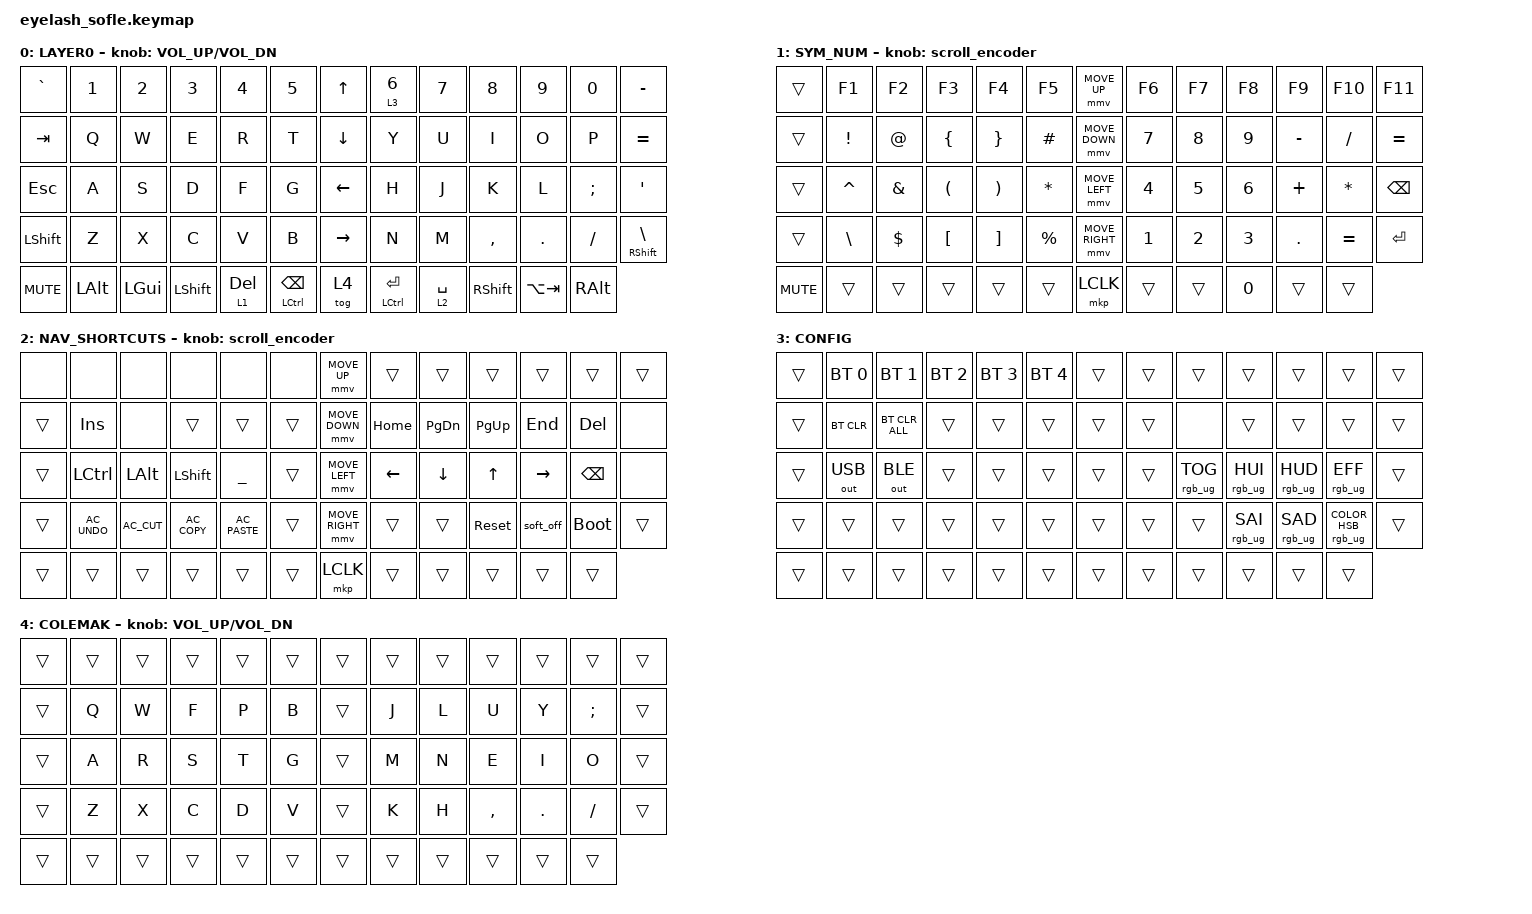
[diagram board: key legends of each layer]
#define ZMK_POINTING_DEFAULT_MOVE_VAL 1200  // 600
#define ZMK_POINTING_DEFAULT_SCRL_VAL 25   // 10

#include <input/processors.dtsi>
#include <zephyr/dt-bindings/input/input-event-codes.h>
#include <behaviors.dtsi>
#include <dt-bindings/zmk/bt.h>
#include <dt-bindings/zmk/keys.h>
#include <dt-bindings/zmk/outputs.h>
#include <dt-bindings/zmk/pointing.h>
#include <dt-bindings/zmk/rgb.h>

&mmv_input_listener { input-processors = <&zip_xy_scaler 2 1>; };

&msc_input_listener { input-processors = <&zip_scroll_scaler 2 1>; };

&msc {
    acceleration-exponent = <1>;      // 0
    time-to-max-speed-ms = <100>;       // 300
    delay-ms = <0>;                   // 0
};

&mmv {
    time-to-max-speed-ms = <500>;
    acceleration-exponent = <1>;
    trigger-period-ms = <16>;
};

/ {
    scroll_encoder: scroll_encoder {
        compatible = "zmk,behavior-sensor-rotate";
        #sensor-binding-cells = <0>;
        bindings = <&msc SCRL_DOWN>, <&msc SCRL_UP>;

        tap-ms = <100>;
    };

    behaviors {
    };

    keymap {
        compatible = "zmk,keymap";

        BASE {
            bindings = <
&kp GRAVE       &kp N1        &kp N2        &kp N3          &kp N4        &kp N5                        &kp UP_ARROW     &lt 3 NUMBER_6          &kp N7       &kp N8           &kp N9       &kp N0         &kp MINUS
&kp TAB         &kp Q         &kp W         &kp E           &kp R         &kp T                         &kp DOWN_ARROW   &kp Y                   &kp U        &kp I            &kp O        &kp P          &kp EQUAL
&kp ESC         &kp A         &kp S         &kp D           &kp F         &kp G                         &kp LEFT_ARROW   &kp H                   &kp J        &kp K            &kp L        &kp SEMICOLON  &kp APOSTROPHE
&kp LEFT_SHIFT  &kp Z         &kp X         &kp C           &kp V         &kp B                         &kp RIGHT_ARROW  &kp N                   &kp M        &kp COMMA        &kp PERIOD   &kp SLASH      &mt RIGHT_SHIFT BACKSLASH
&kp C_MUTE      &kp LEFT_ALT  &kp LEFT_GUI  &kp LEFT_SHIFT  &lt 1 DELETE  &mt LEFT_CONTROL BACKSPACE    &tog 4           &mt LEFT_CONTROL ENTER  &lt 2 SPACE  &kp RIGHT_SHIFT  &kp LA(TAB)  &kp RIGHT_ALT
            >;

            sensor-bindings = <&inc_dec_kp C_VOLUME_UP C_VOL_DN>;
            display-name = "LAYER0";
            label = "BASE";
        };

        SYM_NUM {
            bindings = <
&trans      &kp F1           &kp F2         &kp F3                &kp F4                 &kp F5          &mmv MOVE_UP     &kp F6        &kp F7        &kp F8        &kp F9      &kp F10       &kp F11
&trans      &kp EXCLAMATION  &kp AT_SIGN    &kp LEFT_BRACE        &kp RIGHT_BRACE        &kp HASH        &mmv MOVE_DOWN   &kp N7        &kp N8        &kp NUMBER_9  &kp MINUS   &kp SLASH     &kp EQUAL
&trans      &kp CARET        &kp AMPERSAND  &kp LEFT_PARENTHESIS  &kp RIGHT_PARENTHESIS  &kp ASTERISK    &mmv MOVE_LEFT   &kp NUMBER_4  &kp NUMBER_5  &kp NUMBER_6  &kp PLUS    &kp ASTERISK  &kp BACKSPACE
&trans      &kp BACKSLASH    &kp DOLLAR     &kp LEFT_BRACKET      &kp RIGHT_BRACKET      &kp PERCENT     &mmv MOVE_RIGHT  &kp NUMBER_1  &kp NUMBER_2  &kp NUMBER_3  &kp PERIOD  &kp EQUAL     &kp ENTER
&kp C_MUTE  &trans           &trans         &trans                &trans                 &trans          &mkp LCLK        &trans        &trans        &kp NUMBER_0  &trans      &trans
            >;

            display-name = "SYM_NUM";
            sensor-bindings = <&scroll_encoder>;
        };

        NAV_SHORTCUTS {
            bindings = <
&none   &none             &none         &none           &none           &none     &mmv MOVE_UP     &trans    &trans          &trans       &trans     &trans         &trans
&trans  &kp INSERT        &none         &trans          &trans          &trans    &mmv MOVE_DOWN   &kp HOME  &kp PAGE_DOWN   &kp PAGE_UP  &kp END    &kp DEL        &none
&trans  &kp LEFT_CONTROL  &kp LEFT_ALT  &kp LEFT_SHIFT  &kp UNDER       &trans    &mmv MOVE_LEFT   &kp LEFT  &kp DOWN_ARROW  &kp UP       &kp RIGHT  &kp BACKSPACE  &none
&trans  &kp C_AC_UNDO     &kp C_AC_CUT  &kp C_AC_COPY   &kp C_AC_PASTE  &trans    &mmv MOVE_RIGHT  &trans    &trans          &sys_reset   &soft_off  &bootloader    &trans
&trans  &trans            &trans        &trans          &trans          &trans    &mkp LCLK        &trans    &trans          &trans       &trans     &trans
            >;

            sensor-bindings = <&scroll_encoder>;
            label = "NAV_SHORTCUTS";
        };

        CONFIG {
            bindings = <
&trans  &bt BT_SEL 0  &bt BT_SEL 1    &bt BT_SEL 2  &bt BT_SEL 3  &bt BT_SEL 4    &trans  &trans  &trans           &trans           &trans           &trans                          &trans
&trans  &bt BT_CLR    &bt BT_CLR_ALL  &trans        &trans        &trans          &trans  &trans  &none            &trans           &trans           &trans                          &trans
&trans  &out OUT_USB  &out OUT_BLE    &trans        &trans        &trans          &trans  &trans  &rgb_ug RGB_TOG  &rgb_ug RGB_HUI  &rgb_ug RGB_HUD  &rgb_ug RGB_EFF                 &trans
&trans  &trans        &trans          &trans        &trans        &trans          &trans  &trans  &trans           &rgb_ug RGB_SAI  &rgb_ug RGB_SAD  &rgb_ug RGB_COLOR_HSB(0,0,100)  &trans
&trans  &trans        &trans          &trans        &trans        &trans          &trans  &trans  &trans           &trans           &trans           &trans
            >;

            label = "CONFIG";
        };

        COLEMAK {
            bindings = <
&trans  &trans  &trans  &trans  &trans  &trans    &trans  &trans  &trans  &trans     &trans   &trans         &trans
&trans  &kp Q   &kp W   &kp F   &kp P   &kp B     &trans  &kp J   &kp L   &kp U      &kp Y    &kp SEMICOLON  &trans
&trans  &kp A   &kp R   &kp S   &kp T   &kp G     &trans  &kp M   &kp N   &kp E      &kp I    &kp O          &trans
&trans  &kp Z   &kp X   &kp C   &kp D   &kp V     &trans  &kp K   &kp H   &kp COMMA  &kp DOT  &kp FSLH       &trans
&trans  &trans  &trans  &trans  &trans  &trans    &trans  &trans  &trans  &trans     &trans   &trans
            >;

            sensor-bindings = <&inc_dec_kp C_VOLUME_UP C_VOL_DN>;
        };
    };
};
